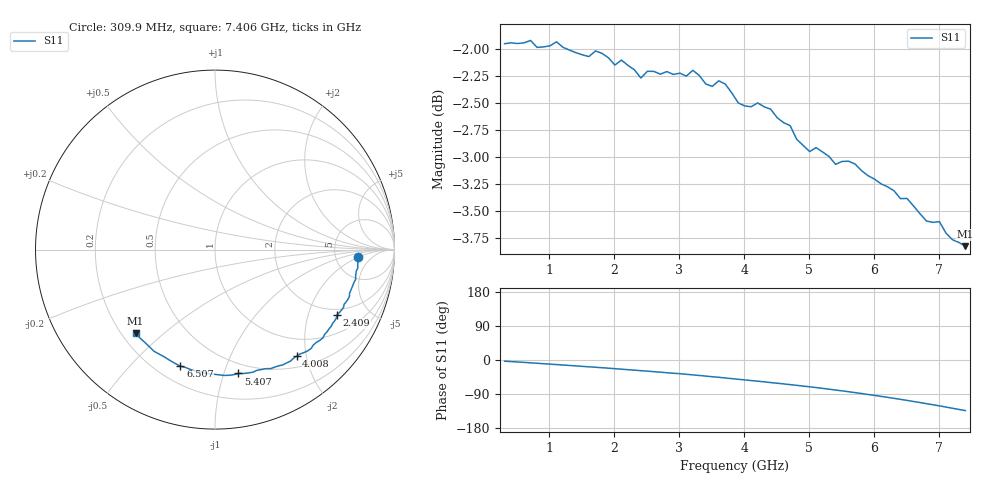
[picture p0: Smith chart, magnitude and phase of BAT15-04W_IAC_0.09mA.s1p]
! Infineon Technologies  Discrete & RF Semiconductors
! BAT15-04W-E6327
! IAC = 0.09 mA
! One-Port S-Parameters
# Hz  S  MA  R  50
!f  S11
!Hz  Mag  Ang
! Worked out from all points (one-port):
!   72 points, 309.9 MHz to 7.406 GHz, reference 50 ohm
!   lowest |S11| = -3.8 dB at 7.406 GHz (marker M1), VSWR 4.61, Z = 12.7 - j20.3 ohm
!   |S11| at or under -10 dB: nowhere
!   S11 on the Smith chart (normalised r, x): 309.9 MHz: 8.46, -2.06; 2.409 GHz: 1.73, -3.09; 4.008 GHz: 0.68, -1.83; 5.407 GHz: 0.41, -1.12; 6.507 GHz: 0.29, -0.70; 7.406 GHz: 0.25, -0.41
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3.0985e8  0.7993 -3.1
7.0965e8  0.802 -7.5
8.096e8  0.7961 -8.6
1.10945e9  0.8009 -12.1
1.2094e9  0.7962 -13.2
1.6092e9  0.7883 -18.0
1.70915e9  0.7931 -19.1
2.009e9  0.7812 -22.9
2.10895e9  0.7854 -24.2
2.4088e9  0.7704 -28.2
2.50875e9  0.776 -29.4
3.0085e9  0.7744 -36.1
3.2084e9  0.7768 -39.2
3.50825e9  0.7636 -44.2
3.6082e9  0.7681 -45.6
3.90805e9  0.7502 -50.9
4.008e9  0.7477 -52.5
4.4078e9  0.7451 -59.6
4.70765e9  0.7321 -65.0
4.8076e9  0.7215 -66.8
5.10745e9  0.7151 -72.7
5.4073e9  0.7024 -79.3
5.70715e9  0.7026 -86.1
6.2069e9  0.6857 -98.5
6.50675e9  0.6772 -106.5
6.6067e9  0.6718 -109.4
7.0065e9  0.6605 -121.0
7.4063e9  0.6434 -133.5
